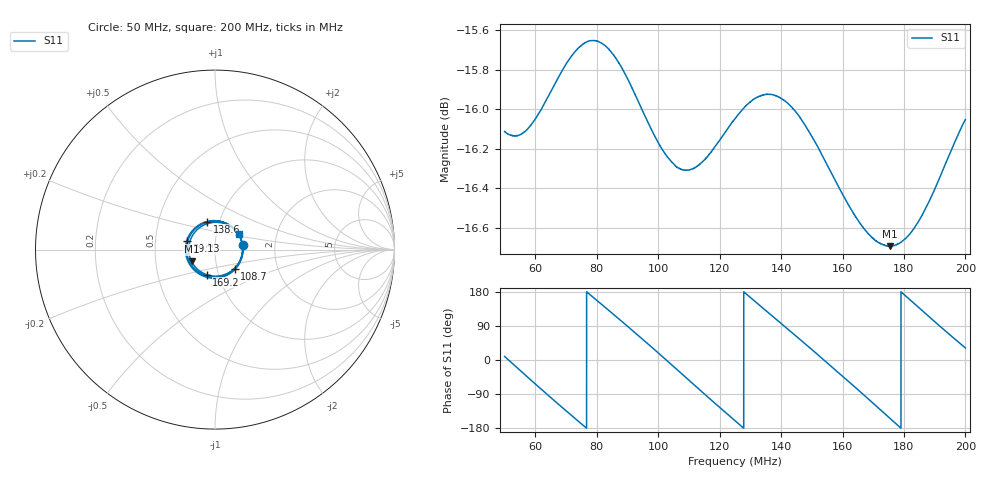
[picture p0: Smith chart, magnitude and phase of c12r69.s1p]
! COPPER MOUNTAIN TECHNOLOGIES, PLANAR TR1300/1, 00071119, 20.2.2/1.0
! Date: 12/11/2023 3:09:03 PM
! Data: Format [Calibration Info]
! Freq  S11: Re/Im F1
# HZ S RI R 50
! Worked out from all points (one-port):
!   12288 points, 50 MHz to 200 MHz, reference 50 ohm
!   lowest |S11| = -16.7 dB at 175.4 MHz (marker M1), VSWR 1.34, Z = 38.1 - j5.1 ohm
!   |S11| at or under -10 dB: start of sweep to end of sweep
!   S11 on the Smith chart (normalised r, x): 50 MHz: 1.36, +0.07; 79.13 MHz: 0.72, +0.07; 108.7 MHz: 1.22, -0.26; 138.6 MHz: 0.88, +0.28; 169.2 MHz: 0.88, -0.25; 200 MHz: 1.29, +0.22
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5e7  0.1544 0.0253
5.496867e7  0.1393 -0.0706
6.048669e7  0.062 -0.1451
6.457638e7  -0.0168 -0.159
6.875153e7  -0.0939 -0.1322
7.412306e7  -0.1566 -0.0495
7.912835e7  -0.1581 0.0471
8.750305e7  -0.0458 0.1561
9.260601e7  0.0518 0.1511
9.817287e7  0.1328 0.0827
1.062546e8  0.1375 -0.0675
1.087084e8  0.1102 -0.1061
1.165826e8  -0.0287 -0.1517
1.250061e8  -0.1484 -0.0532
1.313421e8  -0.1455 0.0653
1.386303e8  -0.0436 0.1536
1.437576e8  0.0523 0.1497
1.48824e8  0.1269 0.0917
1.532433e8  0.1538 0.0137
1.576382e8  0.1369 -0.0662
1.625092e8  0.0739 -0.1302
1.691747e8  -0.0465 -0.1397
1.753764e8  -0.1309 -0.0654
1.812607e8  -0.1414 0.041
1.864247e8  -0.0891 0.1198
1.908196e8  -0.0143 0.1511
1.950558e8  0.0635 0.1409
2e8  0.134 0.0828
